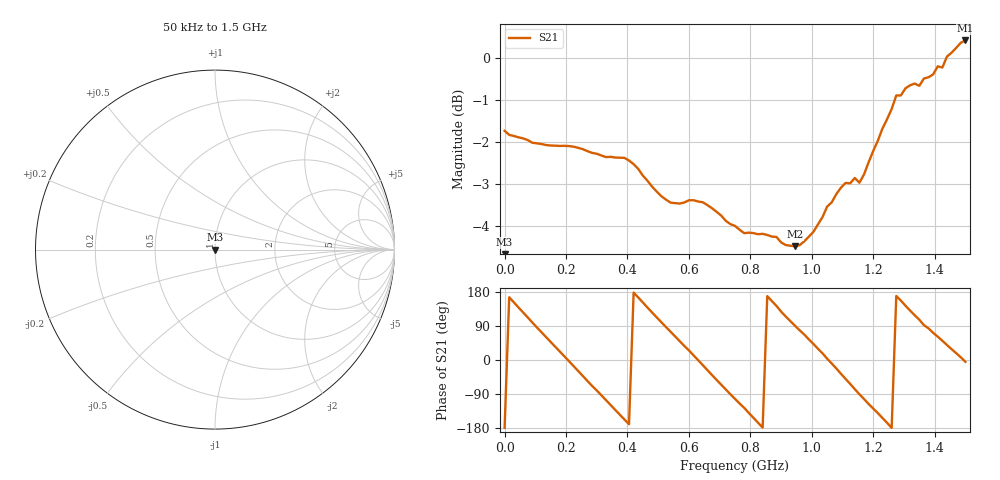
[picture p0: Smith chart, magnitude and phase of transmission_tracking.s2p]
! Created with skrf 1.8.0 (http://scikit-rf.org).
# Hz S RI R 50.0
!freq ReS11 ImS11 ReS21 ImS21 ReS12 ImS12 ReS22 ImS22
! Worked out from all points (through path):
!   101 points, 50 kHz to 1.5 GHz, reference 50 ohm
!   highest |S21| = 0.42 dB at 1.5 GHz (marker M1); lowest = -4.5 dB at 945 MHz (marker M2)
!   lowest |S11| = - dB at 50 kHz (marker M3), VSWR 1.00, Z = 50 + j0 ohm
!   |S11| at or under -10 dB: start of sweep to end of sweep
!   S12 and S22 are empty: the file has one direction only
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50000  0 0  -0.8189 -0.0132  0 0  0 0
6.0048e7  0 0  -0.4679 0.6517  0 0  0 0
1.050465e8  0 0  0.0541 0.7895  0 0  0 0
1.80044e8  0 0  0.728 0.2958  0 0  0 0
2.550415e8  0 0  0.5742 -0.5261  0 0  0 0
3.30039e8  0 0  -0.2084 -0.733  0 0  0 0
4.050365e8  0 0  -0.7421 -0.1386  0 0  0 0
5.10033e8  0 0  -0.1179 0.6744  0 0  0 0
6.30029e8  0 0  0.6746 -0.00526  0 0  0 0
6.90027e8  0 0  0.3996 -0.5201  0 0  0 0
7.50025e8  0 0  -0.1371 -0.6159  0 0  0 0
8.40022e8  0 0  -0.6171 -0.0172  0 0  0 0
9.450185e8  0 0  -0.00733 0.5967  0 0  0 0
1.005016e9  0 0  0.4563 0.4205  0 0  0 0
1.080014e9  0 0  0.6363 -0.2633  0 0  0 0
1.140012e9  0 0  0.1628 -0.701  0 0  0 0
1.20001e9  0 0  -0.4792 -0.6093  0 0  0 0
1.260008e9  0 0  -0.8696 -0.0116  0 0  0 0
1.320006e9  0 0  -0.6025 0.7059  0 0  0 0
1.380004e9  0 0  0.1074 0.9427  0 0  0 0
1.440002e9  0 0  0.7741 0.6395  0 0  0 0
1.5e9  0 0  1.046 -0.0861  0 0  0 0
